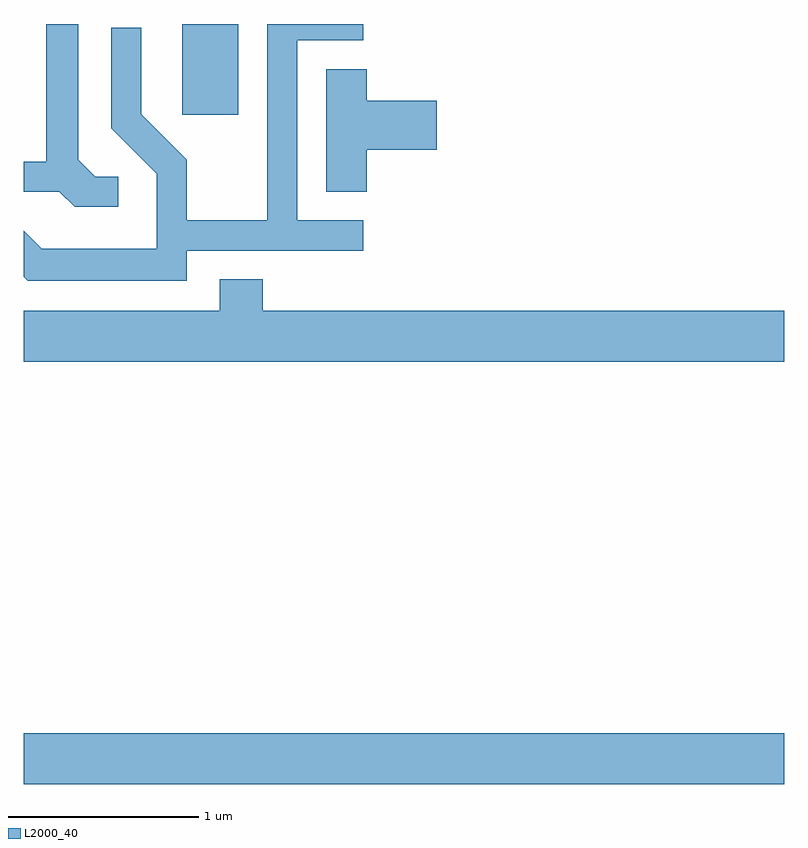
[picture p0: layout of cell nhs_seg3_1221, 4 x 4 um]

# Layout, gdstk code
import gdstk
lib = gdstk.Library(unit=1e-6, precision=1e-09)
def R(c, l, rs):  # rectangles x0, y0, x1, y1
    for r in rs: c.add(gdstk.rectangle(r[:2], r[2:], *l))
def P(c, l, *ps):  # polygons
    for p in ps: c.add(gdstk.Polygon(p, *l))
L2000_40 = (2000, 40)

nhs_seg3_1221 = lib.new_cell('nhs_seg3_1221')
R(nhs_seg3_1221, L2000_40, [(219.611,1245.896,223.611,1246.164), (220.446,1249.416,220.739,1249.892)])
P(nhs_seg3_1221, L2000_40, [(220.108,1249.089),(219.987,1249.089),(219.899,1249.177),(219.899,1249.892),(219.731,1249.892),(219.731,1249.169),(219.611,1249.169),(219.611,1249.011),(219.799,1249.011),(219.879,1248.931),(220.108,1248.931)],
  [(220.469,1248.701),(221.398,1248.701),(221.398,1248.859),(221.049,1248.859),(221.049,1249.806),(221.398,1249.806),(221.398,1249.892),(220.891,1249.892),(220.891,1248.859),(220.469,1248.859),(220.469,1249.177),(220.229,1249.417),(220.229,1249.873),(220.071,1249.873),(220.071,1249.344),(220.311,1249.104),(220.311,1248.709),(219.707,1248.709),(219.611,1248.805),(219.611,1248.564),(219.634,1248.541),(220.469,1248.541)],
  [(221.414,1249.231),(221.784,1249.231),(221.784,1249.489),(221.414,1249.489),(221.414,1249.654),(221.201,1249.654),(221.201,1249.011),(221.414,1249.011)],
  [(223.611,1248.384),(220.869,1248.384),(220.869,1248.549),(220.641,1248.549),(220.641,1248.384),(219.611,1248.384),(219.611,1248.116),(223.611,1248.116)])

lib.write_gds('nhs_seg3_1221.gds')
